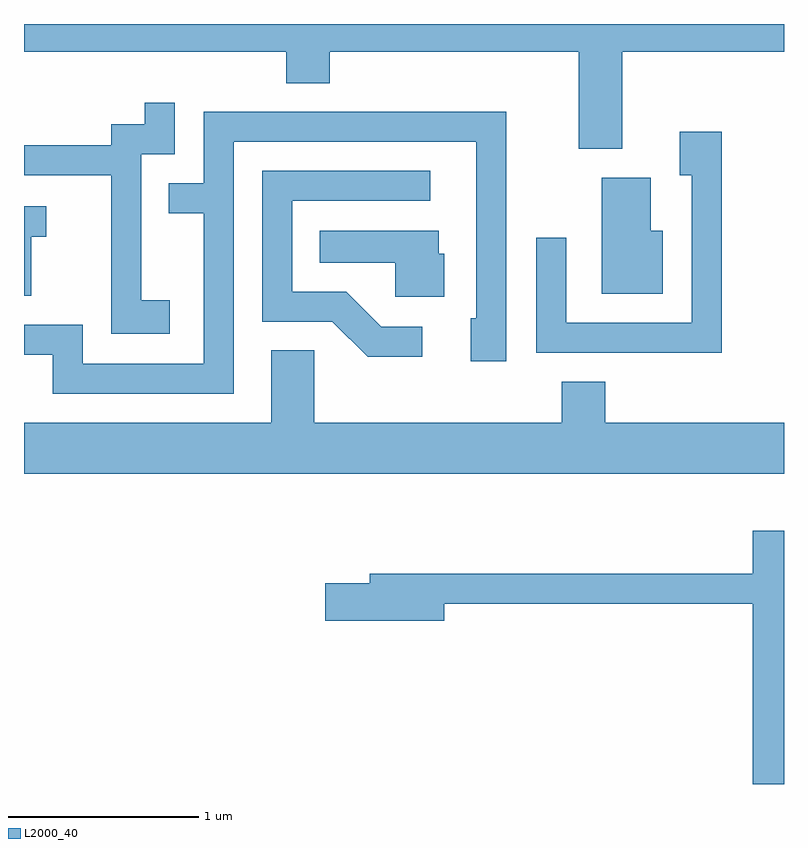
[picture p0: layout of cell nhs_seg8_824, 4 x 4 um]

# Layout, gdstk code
import gdstk
lib = gdstk.Library(unit=1e-6, precision=1e-09)
def P(c, l, *ps):  # polygons
    for p in ps: c.add(gdstk.Polygon(p, *l))
L2000_40 = (2000, 40)

nhs_seg8_824 = lib.new_cell('nhs_seg8_824')
P(nhs_seg8_824, L2000_40, [(212.759,1834.196),(213.611,1834.196),(213.611,1834.342),(209.611,1834.342),(209.611,1834.196),(210.991,1834.196),(210.991,1834.031),(211.219,1834.031),(211.219,1834.196),(212.531,1834.196),(212.531,1833.686),(212.759,1833.686)],
  [(210.379,1832.889),(210.229,1832.889),(210.229,1833.656),(210.404,1833.656),(210.404,1833.928),(210.246,1833.928),(210.246,1833.814),(210.071,1833.814),(210.071,1833.704),(209.611,1833.704),(209.611,1833.546),(210.071,1833.546),(210.071,1832.711),(210.379,1832.711)],
  [(210.714,1833.721),(211.991,1833.721),(211.991,1832.794),(211.961,1832.794),(211.961,1832.566),(212.149,1832.566),(212.149,1833.879),(210.556,1833.879),(210.556,1833.504),(210.373,1833.504),(210.373,1833.346),(210.556,1833.346),(210.556,1832.554),(209.919,1832.554),(209.919,1832.759),(209.611,1832.759),(209.611,1832.601),(209.761,1832.601),(209.761,1832.396),(210.714,1832.396)],
  [(213.284,1833.774),(213.061,1833.774),(213.061,1833.546),(213.126,1833.546),(213.126,1832.769),(212.464,1832.769),(212.464,1833.218),(212.306,1833.218),(212.306,1832.611),(213.284,1832.611)],
  [(211.708,1832.749),(211.492,1832.749),(211.307,1832.934),(211.024,1832.934),(211.024,1833.411),(211.748,1833.411),(211.748,1833.569),(210.866,1833.569),(210.866,1832.776),(211.234,1832.776),(211.419,1832.591),(211.708,1832.591)],
  [(212.974,1833.254),(212.909,1833.254),(212.909,1833.534),(212.651,1833.534),(212.651,1832.921),(212.974,1832.921)],
  [(209.649,1833.221),(209.728,1833.221),(209.728,1833.384),(209.611,1833.384),(209.611,1832.911),(209.649,1832.911)],
  [(211.824,1833.134),(211.794,1833.134),(211.794,1833.254),(211.168,1833.254),(211.168,1833.086),(211.566,1833.086),(211.566,1832.906),(211.824,1832.906)],
  [(213.611,1832.244),(212.669,1832.244),(212.669,1832.459),(212.441,1832.459),(212.441,1832.244),(211.139,1832.244),(211.139,1832.624),(210.911,1832.624),(210.911,1832.244),(209.611,1832.244),(209.611,1831.976),(213.611,1831.976)],
  [(213.611,1831.674),(213.446,1831.674),(213.446,1831.449),(211.431,1831.449),(211.431,1831.399),(211.196,1831.399),(211.196,1831.201),(211.824,1831.201),(211.824,1831.291),(213.446,1831.291),(213.446,1830.342),(213.611,1830.342)])

lib.write_gds('nhs_seg8_824.gds')
